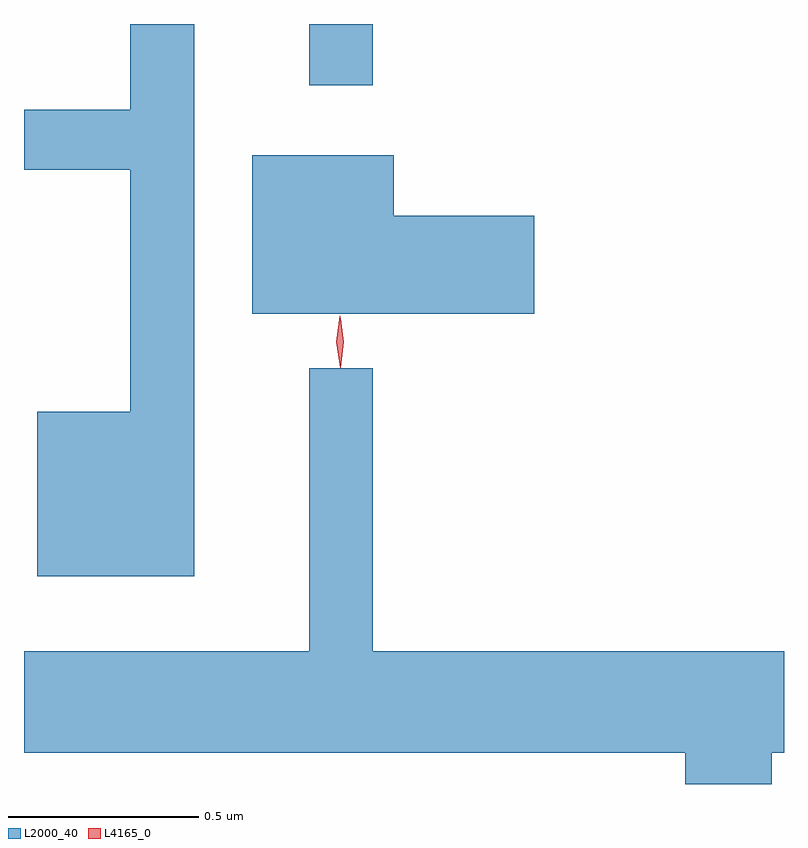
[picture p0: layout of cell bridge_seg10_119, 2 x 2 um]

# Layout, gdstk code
import gdstk
lib = gdstk.Library(unit=1e-6, precision=1e-09)
def R(c, l, rs):  # rectangles x0, y0, x1, y1
    for r in rs: c.add(gdstk.rectangle(r[:2], r[2:], *l))
def P(c, l, *ps):  # polygons
    for p in ps: c.add(gdstk.Polygon(p, *l))
L2000_40 = (2000, 40)
L4165_0 = (4165, 0)

bridge_seg10_119 = lib.new_cell('bridge_seg10_119')
R(bridge_seg10_119, L2000_40, [(1560.591,2200.033,1560.759,2200.194)])
P(bridge_seg10_119, L2000_40, [(1560.289,2200.194),(1560.121,2200.194),(1560.121,2199.969),(1559.841,2199.969),(1559.841,2199.811),(1560.121,2199.811),(1560.121,2199.174),(1559.876,2199.174),(1559.876,2198.741),(1560.289,2198.741)],
  [(1561.184,2199.689),(1560.814,2199.689),(1560.814,2199.849),(1560.441,2199.849),(1560.441,2199.431),(1561.184,2199.431)],
  [(1561.809,2198.276),(1561.841,2198.276),(1561.841,2198.544),(1560.759,2198.544),(1560.759,2199.288),(1560.591,2199.288),(1560.591,2198.544),(1559.841,2198.544),(1559.841,2198.276),(1561.581,2198.276),(1561.581,2198.194),(1561.809,2198.194)])
P(bridge_seg10_119, L4165_0, [(1560.674,2199.293),(1560.673,2199.294),(1560.663,2199.356),(1560.672,2199.419),(1560.673,2199.42),(1560.674,2199.419),(1560.683,2199.356),(1560.674,2199.294)],
  [(1560.673,2199.29),(1560.663,2199.358),(1560.672,2199.425),(1560.672,2199.426),(1560.673,2199.425),(1560.683,2199.358),(1560.674,2199.29),(1560.674,2199.29)])

lib.write_gds('bridge_seg10_119.gds')
